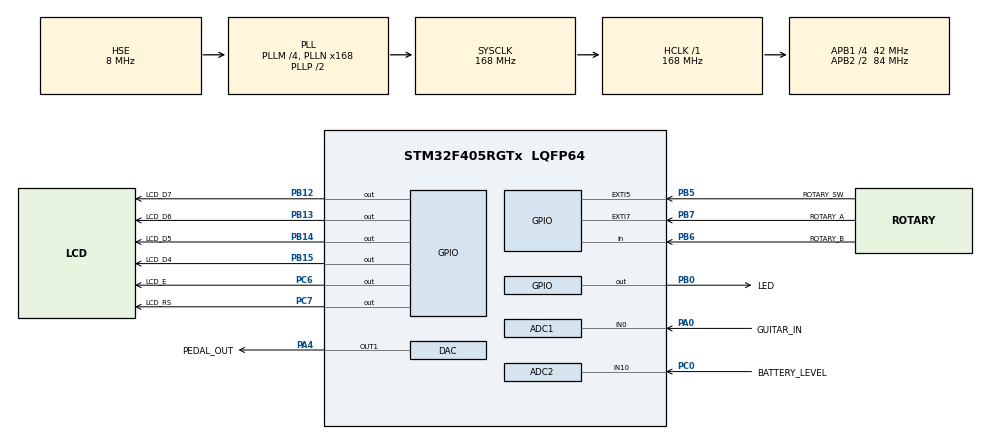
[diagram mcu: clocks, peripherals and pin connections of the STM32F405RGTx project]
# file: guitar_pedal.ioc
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ADC1.Channel-0\#ChannelRegularConversion=ADC_CHANNEL_0
ADC1.ClockPrescaler=ADC_CLOCK_SYNC_PCLK_DIV4
ADC1.ContinuousConvMode=DISABLE
ADC1.DMAContinuousRequests=ENABLE
ADC1.ExternalTrigConv=ADC_EXTERNALTRIGCONV_T2_TRGO
ADC1.NbrOfConversionFlag=1
ADC1.Rank-0\#ChannelRegularConversion=1
ADC1.Resolution=ADC_RESOLUTION_12B
ADC1.SamplingTime-0\#ChannelRegularConversion=ADC_SAMPLETIME_15CYCLES
ADC1.ScanConvMode=DISABLE
ADC1.master=1
ADC2.Channel-0\#ChannelRegularConversion=ADC_CHANNEL_10
ADC2.ClockPrescaler=ADC_CLOCK_SYNC_PCLK_DIV4
ADC2.NbrOfConversionFlag=1
ADC2.Rank-0\#ChannelRegularConversion=1
ADC2.SamplingTime-0\#ChannelRegularConversion=ADC_SAMPLETIME_3CYCLES
DAC.DAC_Trigger=DAC_TRIGGER_T2_TRGO
Dma.ADC1.0.Direction=DMA_PERIPH_TO_MEMORY
Dma.ADC1.0.FIFOMode=DMA_FIFOMODE_DISABLE
Dma.ADC1.0.Instance=DMA2_Stream0
Dma.ADC1.0.MemDataAlignment=DMA_MDATAALIGN_WORD
Dma.ADC1.0.MemInc=DMA_MINC_ENABLE
Dma.ADC1.0.Mode=DMA_CIRCULAR
Dma.ADC1.0.PeriphDataAlignment=DMA_PDATAALIGN_WORD
Dma.ADC1.0.PeriphInc=DMA_PINC_DISABLE
Dma.ADC1.0.Priority=DMA_PRIORITY_VERY_HIGH
Dma.DAC1.1.Direction=DMA_MEMORY_TO_PERIPH
Dma.DAC1.1.FIFOMode=DMA_FIFOMODE_DISABLE
Dma.DAC1.1.Instance=DMA1_Stream5
Dma.DAC1.1.MemDataAlignment=DMA_MDATAALIGN_WORD
Dma.DAC1.1.MemInc=DMA_MINC_ENABLE
Dma.DAC1.1.Mode=DMA_NORMAL
Dma.DAC1.1.PeriphDataAlignment=DMA_PDATAALIGN_WORD
Dma.DAC1.1.PeriphInc=DMA_PINC_DISABLE
Dma.DAC1.1.Priority=DMA_PRIORITY_VERY_HIGH
Dma.Request0=ADC1
Dma.Request1=DAC1
Mcu.Family=STM32F4
Mcu.Name=STM32F405RGTx
Mcu.Package=LQFP64
NVIC.DMA1_Stream5_IRQn=true\:1\:0\:true\:false\:true\:false\:true
NVIC.DMA2_Stream0_IRQn=true\:1\:0\:true\:false\:true\:false\:true
NVIC.EXTI9_5_IRQn=true\:2\:0\:true\:false\:true\:true\:true
NVIC.PriorityGroup=NVIC_PRIORITYGROUP_4
PA0-WKUP.GPIO_Label=GUITAR_IN
PA0-WKUP.Signal=ADCx_IN0
PA13.Mode=Serial_Wire
PA13.Signal=SYS_JTMS-SWDIO
PA14.Mode=Serial_Wire
PA14.Signal=SYS_JTCK-SWCLK
PA4.GPIO_Label=PEDAL_OUT
PA4.Signal=COMP_DAC1_group
PB0.GPIO_Label=LED
PB0.Signal=GPIO_Output
PB12.GPIO_Label=LCD_D7
PB12.Signal=GPIO_Output
PB13.GPIO_Label=LCD_D6
PB13.Signal=GPIO_Output
PB14.GPIO_Label=LCD_D5
PB14.Signal=GPIO_Output
PB15.GPIO_Label=LCD_D4
PB15.Signal=GPIO_Output
PB3.Signal=SYS_JTDO-SWO
PB5.GPIO_Label=ROTARY_SW
PB5.GPIO_ModeDefaultEXTI=GPIO_MODE_IT_FALLING
PB5.Signal=GPXTI5
PB6.GPIO_Label=ROTARY_B
PB6.Signal=GPIO_Input
PB7.GPIO_Label=ROTARY_A
PB7.GPIO_ModeDefaultEXTI=GPIO_MODE_IT_FALLING
PB7.Signal=GPXTI7
PC0.GPIO_Label=BATTERY_LEVEL
PC0.Signal=ADCx_IN10
PC6.GPIO_Label=LCD_E
PC6.Signal=GPIO_Output
PC7.GPIO_Label=LCD_RS
PC7.Signal=GPIO_Output
PH0-OSC_IN.Mode=HSE-External-Oscillator
PH0-OSC_IN.Signal=RCC_OSC_IN
PH1-OSC_OUT.Mode=HSE-External-Oscillator
PH1-OSC_OUT.Signal=RCC_OSC_OUT
ProjectManager.HeapSize=0x200
ProjectManager.StackSize=0x400
ProjectManager.TargetToolchain=Makefile
RCC.48MHZClocksFreq_Value=84000000
RCC.AHBFreq_Value=168000000
RCC.APB1CLKDivider=RCC_HCLK_DIV4
RCC.APB1Freq_Value=42000000
RCC.APB1TimFreq_Value=84000000
RCC.APB2CLKDivider=RCC_HCLK_DIV2
RCC.APB2Freq_Value=84000000
RCC.APB2TimFreq_Value=168000000
RCC.CortexFreq_Value=168000000
RCC.HCLKFreq_Value=168000000
RCC.HSE_VALUE=8000000
RCC.HSI_VALUE=16000000
RCC.LSE_VALUE=32768
RCC.PLLM=4
RCC.PLLN=168
RCC.PLLSourceVirtual=RCC_PLLSOURCE_HSE
RCC.SYSCLKFreq_VALUE=168000000
RCC.SYSCLKSource=RCC_SYSCLKSOURCE_PLLCLK
RCC.VCOOutputFreq_Value=336000000
SH.ADCx_IN0.0=ADC1_IN0,IN0
SH.ADCx_IN10.0=ADC2_IN10,IN10
SH.COMP_DAC1_group.0=DAC_OUT1,DAC_OUT1
TIM2.Period=490
TIM2.Prescaler=3
TIM2.TIM_MasterOutputTrigger=TIM_TRGO_UPDATE
VP_TIM2_VS_ClockSourceINT.Mode=Internal
board=custom

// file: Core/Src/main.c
/* USER CODE BEGIN Header */
/**
  ******************************************************************************
  * @file           : main.c
  * @brief          : Main program body
  ******************************************************************************
  * @attention
  *
  * <h2><center>&copy; Copyright (c) 2021 STMicroelectronics.
  * All rights reserved.</center></h2>
  *
  * This software component is licensed by ST under BSD 3-Clause license,
  * the "License"; You may not use this file except in compliance with the
  * License. You may obtain a copy of the License at:
  *                        opensource.org/licenses/BSD-3-Clause
  *
  ******************************************************************************
  */
/* USER CODE END Header */
#include "main.h"

/* USER CODE BEGIN Includes */
#include "pedal_hal.h"
/* USER CODE END Includes */

ADC_HandleTypeDef hadc1;
ADC_HandleTypeDef hadc2;
DMA_HandleTypeDef hdma_adc1;

DAC_HandleTypeDef hdac;
DMA_HandleTypeDef hdma_dac1;

TIM_HandleTypeDef htim2;

/* USER CODE BEGIN PV */
Lcd_PortType ports[] = {
		LCD_D4_GPIO_Port,
		LCD_D5_GPIO_Port,
		LCD_D6_GPIO_Port,
		LCD_D7_GPIO_Port
};

Lcd_PinType pins[] = {
		LCD_D4_Pin,
		LCD_D5_Pin,
		LCD_D6_Pin,
		LCD_D7_Pin
};
/* USER CODE END PV */

void SystemClock_Config(void);
static void MX_GPIO_Init(void);
static void MX_DMA_Init(void);
static void MX_ADC1_Init(void);
static void MX_ADC2_Init(void);
static void MX_DAC_Init(void);
static void MX_TIM2_Init(void);

/* USER CODE BEGIN 0 */

static void setInitialState(void)
{
    initMenu(ports, pins);
    rotaryEncoderInit(ROTARY_A_GPIO_Port, ROTARY_A_Pin, ROTARY_B_GPIO_Port, ROTARY_B_Pin, ROTARY_SW_GPIO_Port, ROTARY_SW_Pin, incrementMenu, decrementMenu, toggleMenuEdit);
    pedalHalInit(&hadc1, &hdac);
	HAL_TIM_Base_Start(&htim2);
}
/* USER CODE END 0 */

int main(void)
{

  /* MCU Configuration--------------------------------------------------------*/

  /* Reset of all peripherals, Initializes the Flash interface and the Systick. */
  HAL_Init();

  /* Configure the system clock */
  SystemClock_Config();

  /* Initialize all configured peripherals */
  MX_GPIO_Init();
  MX_DMA_Init();
  MX_ADC1_Init();
  MX_ADC2_Init();
  MX_DAC_Init();
  MX_TIM2_Init();
  /* USER CODE BEGIN 2 */
  setInitialState();
  /* USER CODE END 2 */

  /* Infinite loop */
  /* USER CODE BEGIN WHILE */
  while (1)
  {
      pedalHalTask();
	  rotaryEncoderTask();
    /* USER CODE END WHILE */

  }
}

void SystemClock_Config(void)
{
  RCC_OscInitTypeDef RCC_OscInitStruct = {0};
  RCC_ClkInitTypeDef RCC_ClkInitStruct = {0};

  /** Configure the main internal regulator output voltage
  */
  __HAL_RCC_PWR_CLK_ENABLE();
  __HAL_PWR_VOLTAGESCALING_CONFIG(PWR_REGULATOR_VOLTAGE_SCALE1);
  /** Initializes the RCC Oscillators according to the specified parameters
  * in the RCC_OscInitTypeDef structure.
  */
  RCC_OscInitStruct.OscillatorType = RCC_OSCILLATORTYPE_HSE;
  RCC_OscInitStruct.HSEState = RCC_HSE_ON;
  RCC_OscInitStruct.PLL.PLLState = RCC_PLL_ON;
  RCC_OscInitStruct.PLL.PLLSource = RCC_PLLSOURCE_HSE;
  RCC_OscInitStruct.PLL.PLLM = 4;
  RCC_OscInitStruct.PLL.PLLN = 168;
  RCC_OscInitStruct.PLL.PLLP = RCC_PLLP_DIV2;
  RCC_OscInitStruct.PLL.PLLQ = 4;
  if (HAL_RCC_OscConfig(&RCC_OscInitStruct) != HAL_OK)
  {
    Error_Handler();
  }
  /** Initializes the CPU, AHB and APB buses clocks
  */
  RCC_ClkInitStruct.ClockType = RCC_CLOCKTYPE_HCLK|RCC_CLOCKTYPE_SYSCLK
                              |RCC_CLOCKTYPE_PCLK1|RCC_CLOCKTYPE_PCLK2;
  RCC_ClkInitStruct.SYSCLKSource = RCC_SYSCLKSOURCE_PLLCLK;
  RCC_ClkInitStruct.AHBCLKDivider = RCC_SYSCLK_DIV1;
  RCC_ClkInitStruct.APB1CLKDivider = RCC_HCLK_DIV4;
  RCC_ClkInitStruct.APB2CLKDivider = RCC_HCLK_DIV2;

  if (HAL_RCC_ClockConfig(&RCC_ClkInitStruct, FLASH_LATENCY_5) != HAL_OK)
  {
    Error_Handler();
  }
}

static void MX_ADC1_Init(void)
{

  ADC_ChannelConfTypeDef sConfig = {0};

  /** Configure the global features of the ADC (Clock, Resolution, Data Alignment and number of conversion)
  */
  hadc1.Instance = ADC1;
  hadc1.Init.ClockPrescaler = ADC_CLOCK_SYNC_PCLK_DIV4;
  hadc1.Init.Resolution = ADC_RESOLUTION_12B;
  hadc1.Init.ScanConvMode = DISABLE;
  hadc1.Init.ContinuousConvMode = DISABLE;
  hadc1.Init.DiscontinuousConvMode = DISABLE;
  hadc1.Init.ExternalTrigConvEdge = ADC_EXTERNALTRIGCONVEDGE_RISING;
  hadc1.Init.ExternalTrigConv = ADC_EXTERNALTRIGCONV_T2_TRGO;
  hadc1.Init.DataAlign = ADC_DATAALIGN_RIGHT;
  hadc1.Init.NbrOfConversion = 1;
  hadc1.Init.DMAContinuousRequests = ENABLE;
  hadc1.Init.EOCSelection = ADC_EOC_SINGLE_CONV;
  if (HAL_ADC_Init(&hadc1) != HAL_OK)
  {
    Error_Handler();
  }
  /** Configure for the selected ADC regular channel its corresponding rank in the sequencer and its sample time.
  */
  sConfig.Channel = ADC_CHANNEL_0;
  sConfig.Rank = 1;
  sConfig.SamplingTime = ADC_SAMPLETIME_15CYCLES;
  if (HAL_ADC_ConfigChannel(&hadc1, &sConfig) != HAL_OK)
  {
    Error_Handler();
  }

}

static void MX_ADC2_Init(void)
{

  ADC_ChannelConfTypeDef sConfig = {0};

  /** Configure the global features of the ADC (Clock, Resolution, Data Alignment and number of conversion)
  */
  hadc2.Instance = ADC2;
  hadc2.Init.ClockPrescaler = ADC_CLOCK_SYNC_PCLK_DIV4;
  hadc2.Init.Resolution = ADC_RESOLUTION_12B;
  hadc2.Init.ScanConvMode = DISABLE;
  hadc2.Init.ContinuousConvMode = DISABLE;
  hadc2.Init.DiscontinuousConvMode = DISABLE;
  hadc2.Init.ExternalTrigConvEdge = ADC_EXTERNALTRIGCONVEDGE_NONE;
  hadc2.Init.ExternalTrigConv = ADC_SOFTWARE_START;
  hadc2.Init.DataAlign = ADC_DATAALIGN_RIGHT;
  hadc2.Init.NbrOfConversion = 1;
  hadc2.Init.DMAContinuousRequests = DISABLE;
  hadc2.Init.EOCSelection = ADC_EOC_SINGLE_CONV;
  if (HAL_ADC_Init(&hadc2) != HAL_OK)
  {
    Error_Handler();
  }
  /** Configure for the selected ADC regular channel its corresponding rank in the sequencer and its sample time.
  */
  sConfig.Channel = ADC_CHANNEL_10;
  sConfig.Rank = 1;
  sConfig.SamplingTime = ADC_SAMPLETIME_3CYCLES;
  if (HAL_ADC_ConfigChannel(&hadc2, &sConfig) != HAL_OK)
  {
    Error_Handler();
  }

}

static void MX_DAC_Init(void)
{

  DAC_ChannelConfTypeDef sConfig = {0};

  /** DAC Initialization
  */
  hdac.Instance = DAC;
  if (HAL_DAC_Init(&hdac) != HAL_OK)
  {
    Error_Handler();
  }
  /** DAC channel OUT1 config
  */
  sConfig.DAC_Trigger = DAC_TRIGGER_T2_TRGO;
  sConfig.DAC_OutputBuffer = DAC_OUTPUTBUFFER_ENABLE;
  if (HAL_DAC_ConfigChannel(&hdac, &sConfig, DAC_CHANNEL_1) != HAL_OK)
  {
    Error_Handler();
  }

}

static void MX_TIM2_Init(void)
{

  TIM_ClockConfigTypeDef sClockSourceConfig = {0};
  TIM_MasterConfigTypeDef sMasterConfig = {0};

  htim2.Instance = TIM2;
  htim2.Init.Prescaler = 3;
  htim2.Init.CounterMode = TIM_COUNTERMODE_UP;
  htim2.Init.Period = 490;
  htim2.Init.ClockDivision = TIM_CLOCKDIVISION_DIV1;
  htim2.Init.AutoReloadPreload = TIM_AUTORELOAD_PRELOAD_DISABLE;
  if (HAL_TIM_Base_Init(&htim2) != HAL_OK)
  {
    Error_Handler();
  }
  sClockSourceConfig.ClockSource = TIM_CLOCKSOURCE_INTERNAL;
  if (HAL_TIM_ConfigClockSource(&htim2, &sClockSourceConfig) != HAL_OK)
  {
    Error_Handler();
  }
  sMasterConfig.MasterOutputTrigger = TIM_TRGO_UPDATE;
  sMasterConfig.MasterSlaveMode = TIM_MASTERSLAVEMODE_DISABLE;
  if (HAL_TIMEx_MasterConfigSynchronization(&htim2, &sMasterConfig) != HAL_OK)
  {
    Error_Handler();
  }

}

static void MX_DMA_Init(void)
{

  /* DMA controller clock enable */
  __HAL_RCC_DMA2_CLK_ENABLE();
  __HAL_RCC_DMA1_CLK_ENABLE();

  /* DMA interrupt init */
  /* DMA1_Stream5_IRQn interrupt configuration */
  HAL_NVIC_SetPriority(DMA1_Stream5_IRQn, 1, 0);
  HAL_NVIC_EnableIRQ(DMA1_Stream5_IRQn);
  /* DMA2_Stream0_IRQn interrupt configuration */
  HAL_NVIC_SetPriority(DMA2_Stream0_IRQn, 1, 0);
  HAL_NVIC_EnableIRQ(DMA2_Stream0_IRQn);

}

static void MX_GPIO_Init(void)
{
  GPIO_InitTypeDef GPIO_InitStruct = {0};

  /* GPIO Ports Clock Enable */
  __HAL_RCC_GPIOH_CLK_ENABLE();
  __HAL_RCC_GPIOC_CLK_ENABLE();
  __HAL_RCC_GPIOA_CLK_ENABLE();
  __HAL_RCC_GPIOB_CLK_ENABLE();

  /*Configure GPIO pin Output Level */
  HAL_GPIO_WritePin(GPIOB, LED_Pin|LCD_D7_Pin|LCD_D6_Pin|LCD_D5_Pin
                          |LCD_D4_Pin, GPIO_PIN_RESET);

  /*Configure GPIO pin Output Level */
  HAL_GPIO_WritePin(GPIOC, LCD_E_Pin|LCD_RS_Pin, GPIO_PIN_RESET);

  /*Configure GPIO pins : LED_Pin LCD_D7_Pin LCD_D6_Pin LCD_D5_Pin
                           LCD_D4_Pin */
  GPIO_InitStruct.Pin = LED_Pin|LCD_D7_Pin|LCD_D6_Pin|LCD_D5_Pin
                          |LCD_D4_Pin;
  GPIO_InitStruct.Mode = GPIO_MODE_OUTPUT_PP;
  GPIO_InitStruct.Pull = GPIO_NOPULL;
  GPIO_InitStruct.Speed = GPIO_SPEED_FREQ_LOW;
  HAL_GPIO_Init(GPIOB, &GPIO_InitStruct);

  /*Configure GPIO pins : LCD_E_Pin LCD_RS_Pin */
  GPIO_InitStruct.Pin = LCD_E_Pin|LCD_RS_Pin;
  GPIO_InitStruct.Mode = GPIO_MODE_OUTPUT_PP;
  GPIO_InitStruct.Pull = GPIO_NOPULL;
  GPIO_InitStruct.Speed = GPIO_SPEED_FREQ_LOW;
  HAL_GPIO_Init(GPIOC, &GPIO_InitStruct);

  /*Configure GPIO pins : ROTARY_SW_Pin ROTARY_A_Pin */
  GPIO_InitStruct.Pin = ROTARY_SW_Pin|ROTARY_A_Pin;
  GPIO_InitStruct.Mode = GPIO_MODE_IT_FALLING;
  GPIO_InitStruct.Pull = GPIO_NOPULL;
  HAL_GPIO_Init(GPIOB, &GPIO_InitStruct);

  /*Configure GPIO pin : ROTARY_B_Pin */
  GPIO_InitStruct.Pin = ROTARY_B_Pin;
  GPIO_InitStruct.Mode = GPIO_MODE_INPUT;
  GPIO_InitStruct.Pull = GPIO_NOPULL;
  HAL_GPIO_Init(ROTARY_B_GPIO_Port, &GPIO_InitStruct);

  /* EXTI interrupt init*/
  HAL_NVIC_SetPriority(EXTI9_5_IRQn, 2, 0);
  HAL_NVIC_EnableIRQ(EXTI9_5_IRQn);

}

void Error_Handler(void)
{
}

/************************ (C) COPYRIGHT STMicroelectronics *****END OF FILE****/
